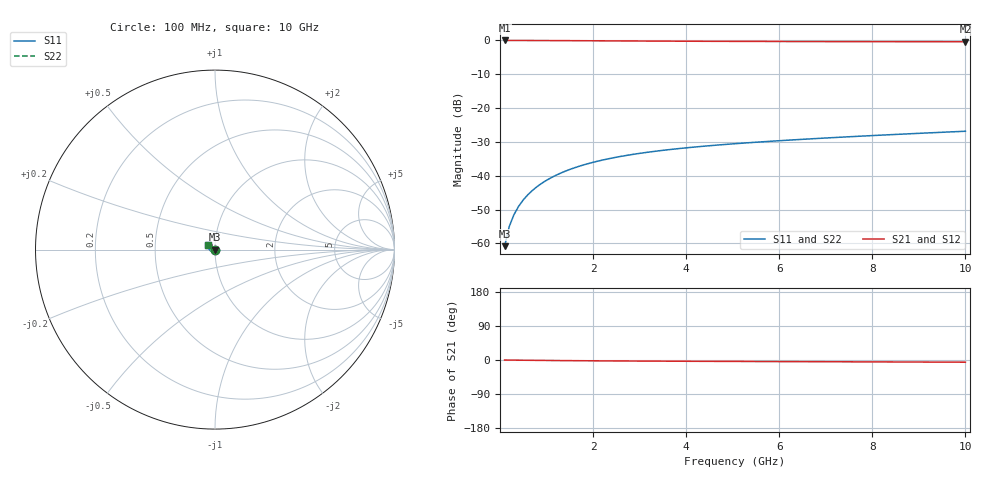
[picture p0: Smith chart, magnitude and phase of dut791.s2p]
! Touchstone file exported from HFSS 2024.1.0
!  File:  C:/UserFiles/LocalFiles/RDL_TSV_Batchsim/temp_TSV1_791_1779875663.aedt
!  Generated:  06:01:39 PM May 27, 2026
!  Design:  TSV1
!  Project:  temp_TSV1_791_1779875663
!  Setup:  Setup1
!  Solution:  Sweep
! Variables:
!  dtsv = 7.72um
!  hbump = 3um
!  htsv = 86.12um
!  lrdl = 252.1521522um
!  p = 40
!  p1 = 58.8um
!  t = 500um
!  trdl = 3um
!  wrdl = 24.89489489um
# GHz S MA R 50.000000
! Terminal data exported
! Port[1] = TSV22_T1
! Port[2] = TSV22_T2
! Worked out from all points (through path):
!   100 points, 100 MHz to 10 GHz, reference 50 ohm
!   highest |S21| = 0.00 dB at 100 MHz (marker M1); lowest = -0.4 dB at 10 GHz (marker M2)
!   lowest |S11| = -60.8 dB at 100 MHz (marker M3), VSWR 1.00, Z = 50 - j0.0882 ohm
!   |S11| at or under -10 dB: start of sweep to end of sweep
!   |S22| runs from -60.8 to -26.9 dB; largest |S21 - S12| = 5.2e-15
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0.1  0.0009081 -76.2  0.9997 -0.1  0.9997 -0.1  0.0009081 -76.2
! Gamma 0 0 0 0
! Port Impedance 50 0 50 0
0.2  0.001775 -86.3  0.9996 -0.2  0.9996 -0.2  0.001775 -86.3
0.3  0.002648 -91.3  0.9994 -0.4  0.9994 -0.4  0.002648 -91.3
0.4  0.003517 -95.0  0.9991 -0.5  0.9991 -0.5  0.003517 -95.0
0.5  0.004381 -98.1  0.9988 -0.6  0.9988 -0.6  0.004381 -98.1
0.6  0.005236 -100.9  0.9984 -0.7  0.9984 -0.7  0.005236 -100.9
0.7  0.006082 -103.5  0.998 -0.8  0.998 -0.8  0.006082 -103.5
0.8  0.006917 -106.0  0.9975 -1.0  0.9975 -1.0  0.006917 -106.0
0.9  0.00774 -108.5  0.997 -1.1  0.997 -1.1  0.00774 -108.5
1.1  0.009345 -113.1  0.9957 -1.3  0.9957 -1.3  0.009345 -113.1
1.4  0.01164 -119.8  0.9936 -1.6  0.9936 -1.6  0.01164 -119.8
1.6  0.01308 -124.0  0.992 -1.8  0.992 -1.8  0.01308 -124.0
1.8  0.01446 -128.0  0.9904 -2.0  0.9904 -2.0  0.01446 -128.0
2.1  0.0164 -133.8  0.9879 -2.2  0.9879 -2.2  0.0164 -133.8
2.5  0.01876 -141.0  0.9846 -2.5  0.9846 -2.5  0.01876 -141.0
2.9  0.02089 -147.7  0.9815 -2.7  0.9815 -2.7  0.02089 -147.7
3.4  0.02328 -155.3  0.9779 -3.0  0.9779 -3.0  0.02328 -155.3
4.2  0.02661 -166.1  0.9729 -3.4  0.9729 -3.4  0.02661 -166.1
5.1  0.0299 -176.4  0.9685 -3.8  0.9685 -3.8  0.0299 -176.4
6.7  0.03515 168.8  0.963 -4.5  0.963 -4.5  0.03515 168.8
8.4  0.04045 156.6  0.9592 -5.1  0.9592 -5.1  0.04045 156.6
10  0.04543 147.5  0.9567 -5.8  0.9567 -5.8  0.04543 147.5
